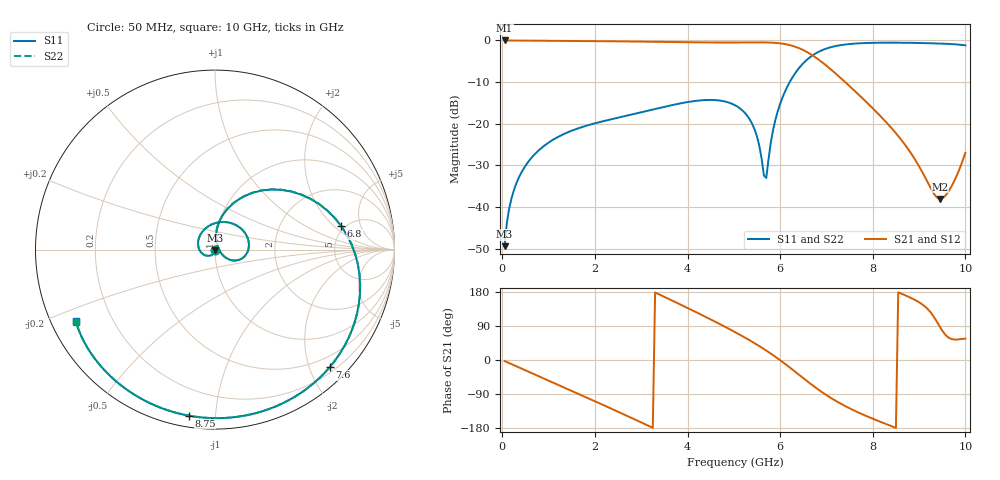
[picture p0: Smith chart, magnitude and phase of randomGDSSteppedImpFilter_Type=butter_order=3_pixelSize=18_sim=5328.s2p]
! freq	dB(S11)	phase(S11)	dB(S12)	phase(S12)
!  dB(S21)	phase(S21)	dB(S22)	phase(S22)
!S-par simulation data
#  GHz  S  DB  R 50
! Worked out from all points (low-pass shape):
!   200 points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, 50 MHz to 10 GHz, reference 50 ohm
!   highest |S21| = -0.01 dB at 50 MHz (marker M1); lowest = -38.1 dB at 9.45 GHz (marker M2)
!   |S21| within 3 dB of the highest: start of sweep to 6.614 GHz
!   lowest |S11| = -49.4 dB at 50 MHz (marker M3), VSWR 1.01, Z = 50 - j0.338 ohm
!   |S11| at or under -10 dB: start of sweep to 6.207 GHz
!   |S22| runs from -49.4 to -0.5 dB; largest |S21 - S12| = 0
!   S11 on the Smith chart (normalised r, x): 50 MHz: 1.00, -0.01; 6.8 GHz: 4.63, +2.49; 7.6 GHz: 0.29, -2.35; 8.75 GHz: 0.06, -0.85; 10 GHz: 0.07, -0.24
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0.05  -49.42 -88.4  -0.01 -2.8  -0.01 -2.8  -49.42 -88.4
0.2  -37.89 -99.3  -0.02 -10.9  -0.02 -10.9  -37.89 -99.3
0.5  -30.12 -117.4  -0.04 -27.2  -0.04 -27.2  -30.12 -117.4
1.15  -23.51 -153.8  -0.09 -62.4  -0.09 -62.4  -23.51 -153.8
1.75  -20.71 173.1  -0.15 -95.1  -0.15 -95.1  -20.71 173.2
2.65  -18.18 123.2  -0.24 -144.9  -0.24 -144.9  -18.18 123.2
3.4  -16.21 80.8  -0.34 172.4  -0.34 172.4  -16.21 80.9
4.3  -14.38 28.9  -0.47 119.3  -0.47 119.3  -14.38 28.8
5.05  -15.72 -15.6  -0.50 72.0  -0.50 72.0  -15.72 -15.8
5.45  -21.43 -36.0  -0.47 44.1  -0.47 44.1  -21.45 -36.6
5.7  -33.03 45.0  -0.49 25.0  -0.49 25.0  -33.44 46.1
5.85  -21.36 85.5  -0.56 12.6  -0.56 12.6  -21.40 86.4
6.05  -13.73 76.3  -0.78 -5.0  -0.78 -5.0  -13.73 76.7
6.4  -6.75 46.7  -1.82 -38.3  -1.82 -38.3  -6.75 46.9
6.7  -3.59 19.3  -3.60 -66.9  -3.60 -66.9  -3.59 19.5
6.8  -2.91 10.6  -4.36 -75.9  -4.36 -75.9  -2.91 10.8
7.15  -1.47 -17.0  -7.49 -104.2  -7.49 -104.2  -1.47 -16.8
7.6  -0.77 -45.6  -12.03 -133.5  -12.03 -133.5  -0.77 -45.4
8.35  -0.54 -82.2  -20.38 -172.0  -20.38 -172.0  -0.54 -82.1
8.75  -0.57 -99.0  -25.88 168.1  -25.88 168.1  -0.57 -98.9
9.45  -0.75 -127.4  -38.07 87.2  -38.07 87.2  -0.75 -127.2
10  -1.18 -152.7  -27.01 56.6  -27.01 56.6  -1.17 -152.4
